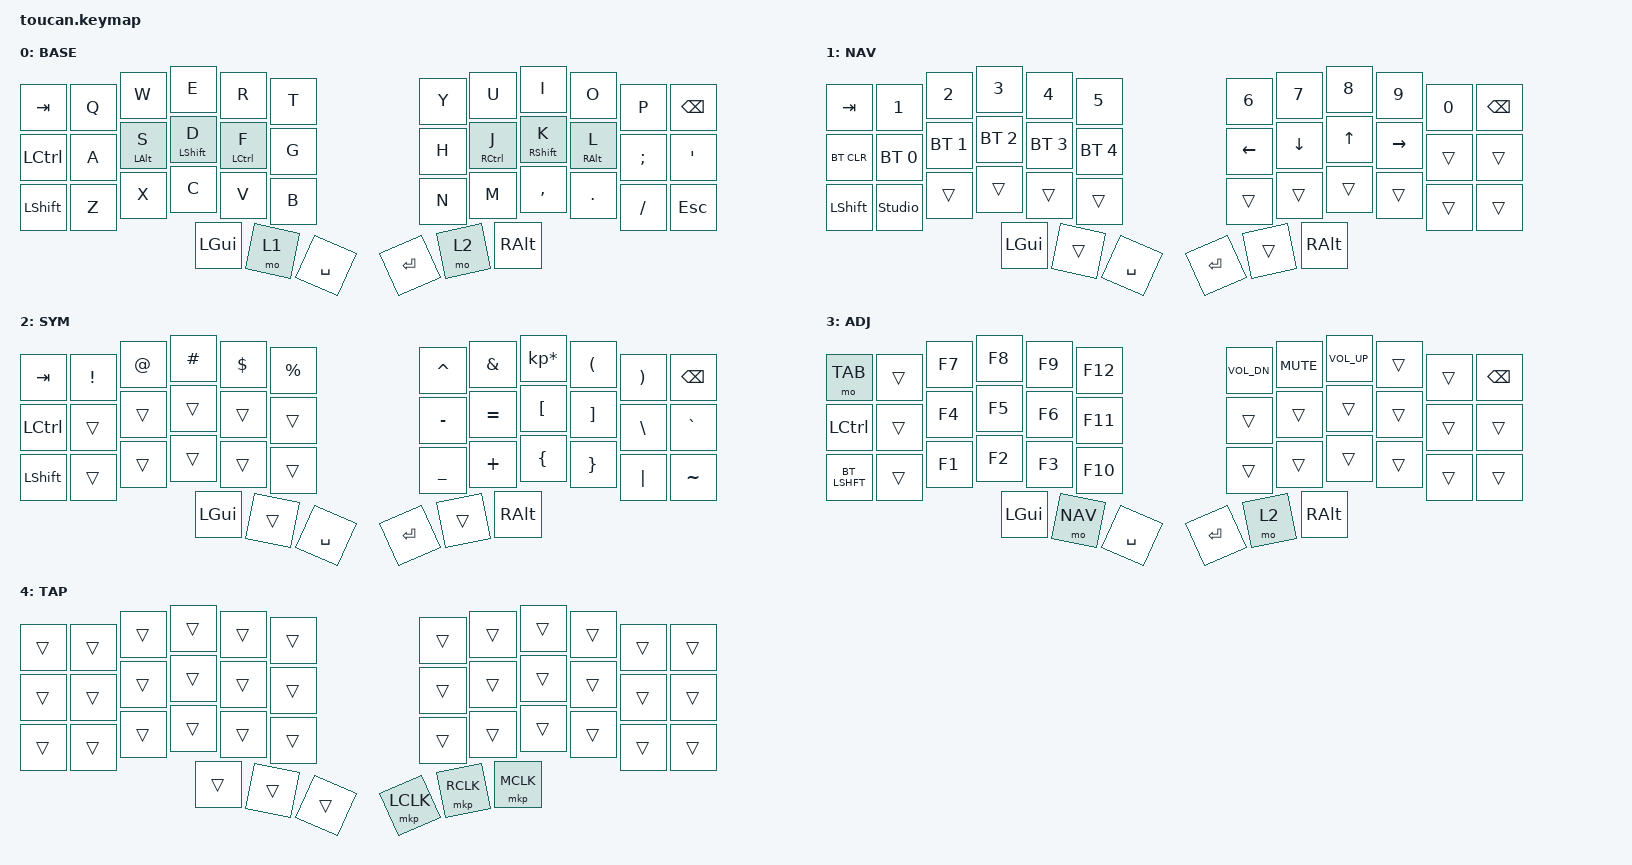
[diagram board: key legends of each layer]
#include <behaviors.dtsi>
#include <dt-bindings/zmk/keys.h>
#include <dt-bindings/zmk/bt.h>
#include <dt-bindings/zmk/outputs.h>
#include <dt-bindings/zmk/pointing.h>

#define BASE 0
#define NAV  1
#define SYM  2
#define ADJ  3
#define TAP  4

/ {
    conditional_layers {
        compatible = "zmk,conditional-layers";
        tri_layer {
            if-layers = <1 2>;
            then-layer = <3>;
        };
    };

    behaviors {
        // Home-row mods tuned to avoid accidental holds while typing:
        //  - balanced flavor: a hold only resolves if the next key is pressed
        //    AND released within the tapping term, otherwise it taps.
        //  - tapping-term-ms: how long you must hold before a hold is possible.
        //  - quick-tap-ms: tap then hold within this window repeats the letter.
        //  - require-prior-idle-ms: if another key was pressed within this many
        //    ms, force a tap (kills false mods during fast typing flow).
        //  - hold-trigger-key-positions: only allow the hold if the *next* key
        //    is on the opposite hand; same-hand rolls always tap.
        //  - hold-trigger-on-release: still lets you chord a mod with another
        //    key on the same hand if you hold past the term.
        hml: home_row_mod_left {
            compatible = "zmk,behavior-hold-tap";
            #binding-cells = <2>;
            flavor = "balanced";
            tapping-term-ms = <280>;
            quick-tap-ms = <175>;
            require-prior-idle-ms = <150>;
            bindings = <&kp>, <&kp>;
            hold-trigger-key-positions = <6 7 8 9 10 11 18 19 20 21 22 23 30 31 32 33 34 35 39 40 41>;
            hold-trigger-on-release;
        };
        hmr: home_row_mod_right {
            compatible = "zmk,behavior-hold-tap";
            #binding-cells = <2>;
            flavor = "balanced";
            tapping-term-ms = <280>;
            quick-tap-ms = <175>;
            require-prior-idle-ms = <150>;
            bindings = <&kp>, <&kp>;
            hold-trigger-key-positions = <0 1 2 3 4 5 12 13 14 15 16 17 24 25 26 27 28 29 36 37 38>;
            hold-trigger-on-release;
        };
    };

    keymap {
        compatible = "zmk,keymap";

        base {
            display-name = "BASE";
            bindings = <
                &kp TAB   &kp Q &kp W &kp E &kp R &kp T   &kp Y &kp U  &kp I     &kp O   &kp P    &kp BSPC
                &kp LCTRL &kp A &hml LALT S &hml LSHFT D &hml LCTRL F &kp G   &kp H &hmr RCTRL J &hmr RSHFT K &hmr RALT L &kp SEMI &kp SQT
                &kp LSHFT &kp Z &kp X &kp C &kp V &kp B   &kp N &kp M  &kp COMMA &kp DOT &kp FSLH &kp ESC
                                &kp LGUI &mo 1 &kp SPACE   &kp RET &mo 2 &kp RALT
            >;
        };

        nav {
            display-name = "NAV";
            bindings = <
                &kp TAB     &kp N1          &kp N2       &kp N3       &kp N4       &kp N5         &kp N6   &kp N7   &kp N8 &kp N9    &kp N0 &kp BSPC
                &bt BT_CLR  &bt BT_SEL 0    &bt BT_SEL 1 &bt BT_SEL 2 &bt BT_SEL 3 &bt BT_SEL 4   &kp LEFT &kp DOWN &kp UP &kp RIGHT &trans &trans
                &kp LSHFT   &studio_unlock  &trans       &trans       &trans       &trans         &trans   &trans   &trans &trans    &trans &trans
                                                &kp LGUI     &trans       &kp SPACE      &kp RET  &trans   &kp RALT
            >;
        };

        sym {
            display-name = "SYM";
            bindings = <
                &kp TAB   &kp EXCL &kp AT &kp HASH &kp DLLR &kp PRCNT   &kp CARET &kp AMPS  &kp KP_MULTIPLY &kp LPAR &kp RPAR &kp BSPC
                &kp LCTRL &trans   &trans &trans   &trans   &trans      &kp MINUS &kp EQUAL &kp LBKT        &kp RBKT &kp BSLH &kp GRAVE
                &kp LSHFT &trans   &trans &trans   &trans   &trans      &kp UNDER &kp PLUS  &kp LBRC        &kp RBRC &kp PIPE &kp TILDE
                                          &kp LGUI &trans   &kp SPACE   &kp RET   &trans    &kp RALT
            >;
        };

        adj {
            display-name = "ADJ";
            bindings = <
                &mo TAB   &trans &kp F7 &kp F8 &kp F9 &kp F12   &kp C_VOL_DN &kp C_MUTE  &kp C_VOL_UP &trans &trans &kp BSPC
                &kp LCTRL &trans &kp F4 &kp F5 &kp F6 &kp F11   &trans       &trans      &trans       &trans &trans &trans
                &bt LSHFT &trans &kp F1 &kp F2 &kp F3 &kp F10   &trans       &trans      &trans       &trans &trans &trans
                                   &kp LGUI &mo NAV &kp SPACE   &kp RET &mo 2 &kp RALT
            >;
        };

        // Activated while a finger is on the touchpad (via touch_processor in
        // toucan.dtsi). The right thumb cluster becomes mouse buttons so you can
        // tap-to-click: keep a finger on the pad and press a thumb to click.
        tap {
            display-name = "TAP";
            bindings = <
                &trans &trans &trans &trans &trans &trans   &trans &trans &trans &trans &trans &trans
                &trans &trans &trans &trans &trans &trans   &trans &trans &trans &trans &trans &trans
                &trans &trans &trans &trans &trans &trans   &trans &trans &trans &trans &trans &trans
                                     &trans &trans &trans   &mkp LCLK &mkp RCLK &mkp MCLK
            >;
        };

        extra_1 {
                status = "reserved";
        };

        extra_2 {
                status = "reserved";
        };

        extra_3 {
                status = "reserved";
        };
    };
};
